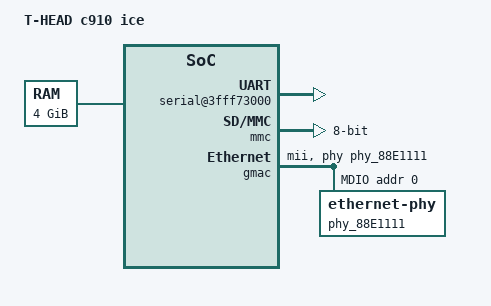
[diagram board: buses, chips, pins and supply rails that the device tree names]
/dts-v1/;
/ {
	model = "T-HEAD c910 ice";
	compatible = "thead,c910_ice";
	#address-cells = <2>;
	#size-cells = <2>;

	memory@0 {
		device_type = "memory";
		reg = <0x0 0x0 0x1 0x0>;
	};

	cpus {
		#address-cells = <1>;
		#size-cells = <0>;
		timebase-frequency = <3000000>;
		u-boot,dm-pre-reloc;
		cpu@0 {
			device_type = "cpu";
			reg = <0>;
			status = "okay";
			compatible = "riscv";
			riscv,isa = "rv64imafdcvsu";
			mmu-type = "riscv,sv39";
			u-boot,dm-pre-reloc;
		};
	};

	soc {
		#address-cells = <2>;
		#size-cells = <2>;
		compatible = "simple-bus";
		ranges;
		u-boot,dm-pre-reloc;

		dummy_apb: apb-clock {
			compatible = "fixed-clock";
			clock-frequency = <62500000>;
			clock-output-names = "dummy_apb";
			#clock-cells = <0>;
			u-boot,dm-pre-reloc;
		};

		serial@3fff73000 {
			compatible = "snps,dw-apb-uart";
			reg = <0x3 0xfff73000 0x0 0x400>;
			clock-frequency = <62500000>;
			clock-names = "baudclk";
			reg-shift = <2>;
			reg-io-width = <4>;
			u-boot,dm-pre-reloc;
		};

		mmc: mmc0@3fffb0000 {
			compatible = "snps,dw-mshc";
			reg = <0x3 0xfffb0000 0x0 0x400>;
			bus-width = <8>;
			clocks = <&dummy_apb>, <&dummy_apb>;
			clock-names = "biu", "ciu";
			max-frequency = <20000000>;
			fifo-mode;
			u-boot,dm-pre-reloc;
		};

		gmac: ethernet@3fffc0000 {
			compatible = "snps,dwmac";
			reg = <0x3 0xfffc0000 0x0 0x2000>;
			clocks = <&dummy_apb>;
			clock-names = "stmmaceth";
			snps,pbl = <32>;
			snps,fixed-burst;

			max-speed = <100>;
			phy-mode = "mii";
			phy-handle = <&phy_88E1111>;
			mdio0 {
				#address-cells = <1>;
				#size-cells = <0>;
				compatible = "snps,dwmac-mdio";

				phy_88E1111: ethernet-phy@0 {
					reg = <0x0 0x0>;
				};
			};
		};
	};

	chosen {
		bootargs = "console=ttyS0,115200 crashkernel=256M-:128M";
		linux,initrd-start = <0x0 0x2000000>;
		linux,initrd-end = <0x0 0x0>;
		stdout-path = "/soc/serial@3fff73000:115200";
	};
};
